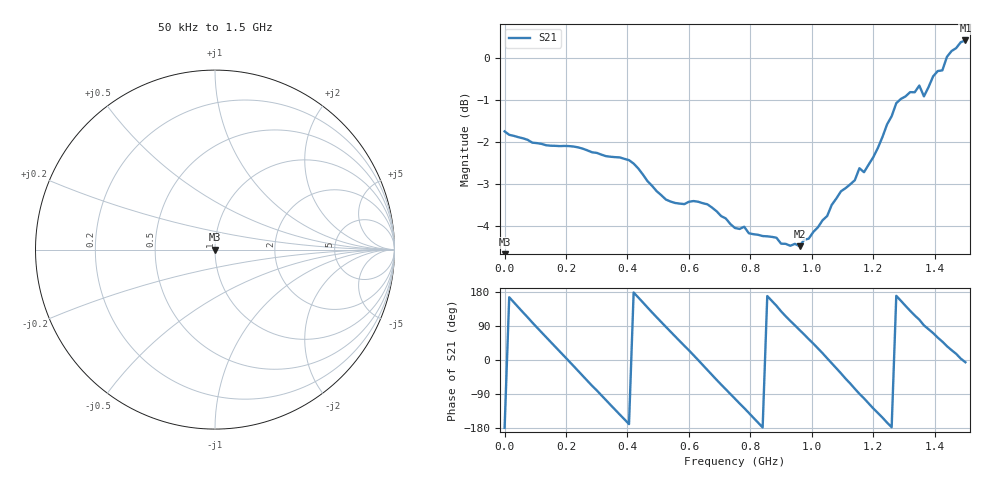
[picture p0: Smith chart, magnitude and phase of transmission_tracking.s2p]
! Created with skrf 1.8.0 (http://scikit-rf.org).
# Hz S RI R 50.0
!freq ReS11 ImS11 ReS21 ImS21 ReS12 ImS12 ReS22 ImS22
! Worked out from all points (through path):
!   101 points, 50 kHz to 1.5 GHz, reference 50 ohm
!   highest |S21| = 0.43 dB at 1.5 GHz (marker M1); lowest = -4.5 dB at 960 MHz (marker M2)
!   lowest |S11| = - dB at 50 kHz (marker M3), VSWR 1.00, Z = 50 + j0 ohm
!   |S11| at or under -10 dB: start of sweep to end of sweep
!   S12 and S22 are empty: the file has one direction only
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50000  0 0  -0.8178 -0.0125  0 0  0 0
6.0048e7  0 0  -0.4678 0.652  0 0  0 0
1.050465e8  0 0  0.055 0.79  0 0  0 0
1.80044e8  0 0  0.7278 0.2954  0 0  0 0
2.550415e8  0 0  0.5766 -0.5251  0 0  0 0
3.30039e8  0 0  -0.2087 -0.735  0 0  0 0
4.050365e8  0 0  -0.7423 -0.1416  0 0  0 0
5.10033e8  0 0  -0.1206 0.6756  0 0  0 0
5.70031e8  0 0  0.4308 0.5139  0 0  0 0
6.30029e8  0 0  0.6741 -0.00108  0 0  0 0
6.90027e8  0 0  0.4021 -0.5192  0 0  0 0
7.50025e8  0 0  -0.1323 -0.613  0 0  0 0
8.550215e8  0 0  -0.6012 0.1192  0 0  0 0
9.60018e8  0 0  0.1106 0.5862  0 0  0 0
1.005016e9  0 0  0.4517 0.4253  0 0  0 0
1.080014e9  0 0  0.6311 -0.2537  0 0  0 0
1.155012e9  0 0  0.00973 -0.7391  0 0  0 0
1.260008e9  0 0  -0.8518 -0.0397  0 0  0 0
1.320006e9  0 0  -0.586 0.6976  0 0  0 0
1.380004e9  0 0  0.1398 0.9132  0 0  0 0
1.440002e9  0 0  0.8085 0.5954  0 0  0 0
1.5e9  0 0  1.045 -0.1085  0 0  0 0
